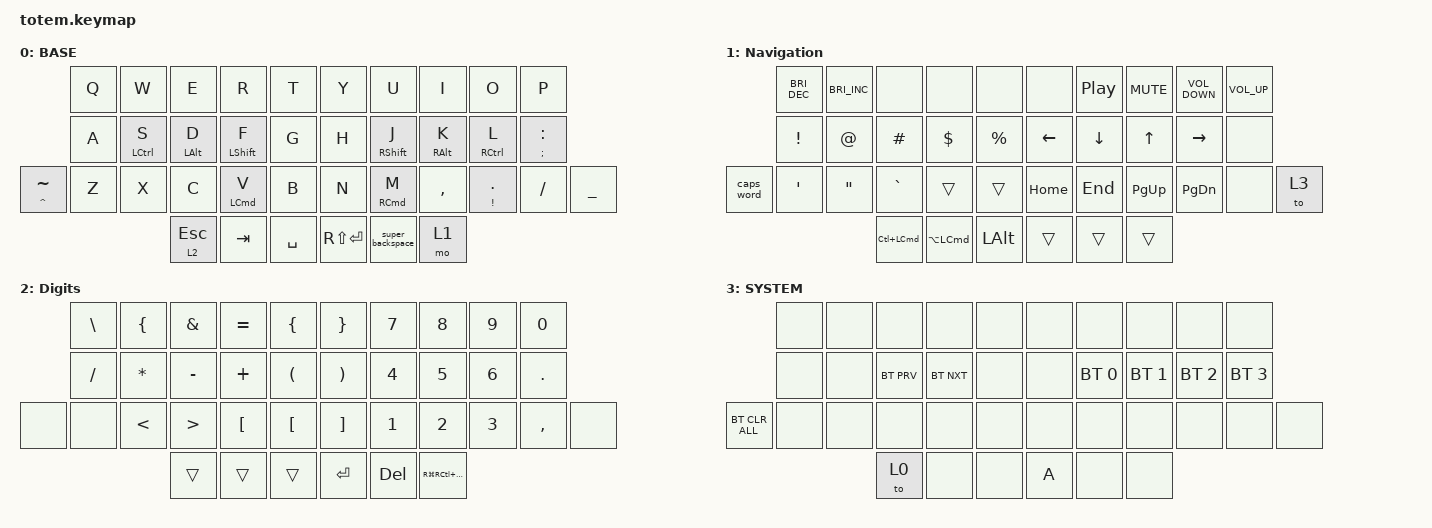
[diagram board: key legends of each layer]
//
//                                                        ▀▀▀▀▀     ▀▀▀▀▀          ▀▀█▀▀
//                                                        ▄▀▀▀▄  ▄  ▄▀▀▀▄  ▄  ▄▀▀▀▄  █  ▄▀▀▀▄
//                                                        █   █  █  █   █  █  █   █  █  █   █
//                                                         ▀▀▀   █   ▀▀▀   █   ▀▀▀   ▀   ▀▀▀
//                                                               █      ▄▄▄█▄▄▄    █   █
//                                                               ▀      █  █  █     █▄█
//                                                             ▀▀▀▀▀    █  █  █      ▀
//                                                                      ▀  ▀  ▀
//
// ▄▄▄▄▄▄▄▄▄▄▄▄▄▄▄▄▄▄▄▄▄▄▄▄▄▄▄▄▄▄▄▄▄▄▄▄▄▄▄▄▄▄▄▄▄▄▄▄▄▄▄▄▄▄▄▄▄▄▄▄▄▄▄▄▄▄▄▄▄▄▄▄▄▄▄▄▄▄▄▄▄▄▄▄▄▄▄▄▄▄▄▄▄▄▄▄▄▄▄▄▄▄▄▄▄▄▄▄▄▄▄▄▄▄▄▄▄▄▄▄▄▄▄▄▄▄▄▄▄▄▄▄▄▄▄▄▄▄▄▄▄▄▄▄▄▄▄▄▄

#include "zmk-helpers/helper.h"
#include "zmk-helpers/key-labels/totem.h"
#include <behaviors.dtsi>
#include <dt-bindings/zmk/bt.h>
#include <dt-bindings/zmk/keys.h>

#define BASE 0
#define NAV  1
#define DIG  2
#define SYS  3
#define QUICK_TAP_MS 175

/* Timeless homerow mods */
// https://github.com/urob/zmk-config/tree/main#timeless-homerow-mods

#define KEYS_L LT0 LT1 LT2 LT3 LT4 LM0 LM1 LM2 LM3 LM4 LB0 LB1 LB2 LB3 LB4 LB5  // left hand
#define KEYS_R RT0 RT1 RT2 RT3 RT4 RM0 RM1 RM2 RM3 RM4 RB0 RB1 RB2 RB3 RB4 RB5  // right hand
#define THUMBS LH2 LH1 LH0 RH0 RH1 RH2 // thumb cluster for both hands

// proper urob's home row, uncomment it if you are not going to use visual editor
//#define MAKE_HRM(NAME, HOLD, TAP, TRIGGER_POS) \
//    ZMK_HOLD_TAP(NAME, \
//        flavor = "balanced"; \
//        tapping-term-ms = <280>; \
//        quick-tap-ms = <QUICK_TAP_MS>; \
//        require-prior-idle-ms = <150>; \
//        bindings = <HOLD>, <TAP>; \
//        hold-trigger-key-positions = <TRIGGER_POS>; \
//        hold-trigger-on-release; \
//    )
//
//MAKE_HRM(hml, &kp, &kp, KEYS_R THUMBS)  // left-hand HRMs
//MAKE_HRM(hmr, &kp, &kp, KEYS_L THUMBS)  // right-hand HRMs
//MAKE_HRM(hml_layer, &mo, &kp, KEYS_R THUMBS) // switch layer like HRM

&mt {
    quick-tap-ms = <100>;
    global-quick-tap;
    flavor = "tap-preferred";
    tapping-term-ms = <170>;
};

/ {
    combos {
        compatible = "zmk,combos";

        to_digits_layer {
            bindings = <&to 3>;
            key-positions = <32 37>;
        };

        caps-words {
            bindings = <&caps_word>;
            key-positions = <11 12 13>;
        };
    };

    macros {
        /**
         * Temporarily switches to a layer (`&mo`) while a modifier is held.
         * Analogous to QMK's `LM()`, using a parameterized macro.
         *
         * Params:
         *  1. Layer to switch to
         *  2. Modifier to press while layer is active
         *
         * Example:
         *  `&lm NUM_LAYER LSHIFT`
         */

        lm: lm {
            compatible = "zmk,behavior-macro-two-param";
            wait-ms = <0>;
            tap-ms = <0>;
            #binding-cells = <2>;
            bindings =
                <&macro_param_1to1>,
                <&macro_press>,
                <&mo MACRO_PLACEHOLDER &macro_param_2to1>,
                <&macro_press>,
                <&kp MACRO_PLACEHOLDER>,
                <&macro_pause_for_release>,
                <&macro_param_2to1>,
                <&macro_release>,
                <&kp MACRO_PLACEHOLDER &macro_param_1to1>,
                <&macro_release>,
                <&mo MACRO_PLACEHOLDER>;
        };

        press_two_keys: press_two_keys {
            compatible = "zmk,behavior-macro-two-param";
            wait-ms = <0>;
            tap-ms = <0>;
            #binding-cells = <2>;
            bindings =
                <&macro_param_1to1>,
                <&macro_tap>,
                <&kp MACRO_PLACEHOLDER &macro_param_2to1>,
                <&macro_tap>,
                <&kp MACRO_PLACEHOLDER>;
        };

        more_or_equal: more_or_equal {
            compatible = "zmk,behavior-macro";
            #binding-cells = <0>;
            bindings = <&kp MINUS &kp GT>;
            label = "MORE_OR_EQUAL";
        };

        less_or_equal: less_or_equal {
            compatible = "zmk,behavior-macro";
            #binding-cells = <0>;
            bindings = <&kp LT &kp EQUAL>;
            label = "LESS_OR_EQUAL";
        };

        fun_arrow_right: fun_arrow_right {
            compatible = "zmk,behavior-macro";
            #binding-cells = <0>;
            bindings = <&kp MINUS &kp GT>;
            label = "FUN_ARROW_RIGHT";
        };

        comment: comment {
            compatible = "zmk,behavior-macro";
            #binding-cells = <0>;
            bindings = <&kp FSLH &kp STAR>;
            label = "MACROS_COMMENT";
        };

        go_equal: go_equal {
            compatible = "zmk,behavior-macro";
            #binding-cells = <0>;
            bindings = <&kp COLON &kp EQUAL>;
            label = "GO_EQUAL";
        };
    };

    behaviors {
        // this is homerow mod that works identical to urob's one, but this one allows visual editor to understand

        hm: hm {
            compatible = "zmk,behavior-hold-tap";
            label = "HM";
            bindings = <&kp>, <&kp>;

            #binding-cells = <2>;
            tapping-term-ms = <200>;
            quick-tap-ms = <175>;
            require-prior-idle-ms = <150>;
            flavor = "balanced";
            hold-trigger-key-positions = <KEYS_R THUMBS>;
            hold-trigger-on-release;
        };

        mod_tap_space: mod_tap_space {
            compatible = "zmk,behavior-tap-dance";
            label = "MOD_TAP_SPACE";
            #binding-cells = <0>;
            bindings = <&lt 1 SPACE>, <&to 0>;
        };

        mod_tap_underscore: mod_tap_underscore {
            compatible = "zmk,behavior-tap-dance";
            label = "MOD_TAP_UNDERSCORE";
            #binding-cells = <0>;
            bindings = <&lt 1 UNDERSCORE>, <&to 0>;
        };

        super_backspace: super_backspace {
            compatible = "zmk,behavior-tap-dance";
            label = "SUPER_BACKSPACE";
            #binding-cells = <0>;
            bindings = <&kp BACKSPACE>, <&kp RA(BACKSPACE)>;
        };

        super_equal: super_equal {
            compatible = "zmk,behavior-hold-tap";
            label = "SUPER_EQUAL";
            bindings = <&go_equal>, <&kp>;

            #binding-cells = <2>;
            flavor = "tap-preferred";
            tapping-term-ms = <150>;
        };
    };

    keymap {
        compatible = "zmk,keymap";

        QWERTY {
            label = "BASE";
            bindings = <
                 &kp Q  &kp W        &kp E           &kp R             &kp T        &kp Y          &kp U              &kp I            &kp O         &kp P
                 &kp A  &hm LCTRL S  &hm LEFT_ALT D  &hm LEFT_SHIFT F  &kp G        &kp H          &hm RIGHT_SHIFT J  &hm RIGHT_ALT K  &hm RCTRL L   &mt SEMICOLON COLON
&mt CARET TILDE  &kp Z  &kp X        &kp C           &hm LCMD V        &kp B        &kp N          &hm RCMD M         &kp COMMA        &mt EXCL DOT  &kp SLASH            &kp UNDERSCORE
                                     &lt 2 ESC       &kp TAB           &kp SPACE    &kp RS(ENTER)  &super_backspace   &mo 1
            >;
        };

        Navigation {
            label = "Navigation";
            bindings = <
            &kp C_BRIGHTNESS_DEC  &kp C_BRIGHTNESS_INC  &none         &none         &none           &none           &kp C_PLAY_PAUSE  &kp K_MUTE    &kp C_VOLUME_DOWN  &kp C_VOLUME_UP
            &kp EXCLAMATION       &kp AT_SIGN           &kp HASH      &kp DOLLAR    &kp PERCENT     &kp LEFT_ARROW  &kp DOWN_ARROW    &kp UP_ARROW  &kp RIGHT          &none
&caps_word  &kp SQT               &kp DOUBLE_QUOTES     &kp GRAVE     &trans        &trans          &kp HOME        &kp END           &kp PG_UP     &kp PAGE_DOWN      &none            &to 3
                                                        &kp LC(LCMD)  &kp LA(LCMD)  &kp LEFT_ALT    &trans          &trans            &trans
            >;
        };

        digits {
            label = "Digits";
            bindings = <
       &kp BACKSLASH  &kp LEFT_BRACE  &kp AMPERSAND     &kp EQUAL         &kp LEFT_BRACE          &kp RIGHT_BRACE  &kp N7      &kp N8                    &kp N9  &kp N0
       &kp SLASH      &kp ASTERISK    &kp MINUS         &kp PLUS          &kp LEFT_PARENTHESIS    &kp RPAR         &kp N4      &kp N5                    &kp N6  &kp PERIOD
&none  &none          &kp LESS_THAN   &kp GREATER_THAN  &kp LEFT_BRACKET  &kp LEFT_BRACKET        &kp RBKT         &kp N1      &kp N2                    &kp N3  &kp COMMA   &none
                                      &trans            &trans            &trans                  &kp ENTER        &kp DELETE  &kp RG(RC(RS(NUMBER_4)))
            >;
        };

        sim_layer {
            label = "SYSTEM";
            bindings = <
                &none  &none  &none       &none       &none    &none  &none         &none         &none         &none
                &none  &none  &bt BT_PRV  &bt BT_NXT  &none    &none  &bt BT_SEL 0  &bt BT_SEL 1  &bt BT_SEL 2  &bt BT_SEL 3
&bt BT_CLR_ALL  &none  &none  &none       &none       &none    &none  &none         &none         &none         &none         &none
                              &to 0       &none       &none    &kp A  &none         &none
            >;
        };
    };
};
